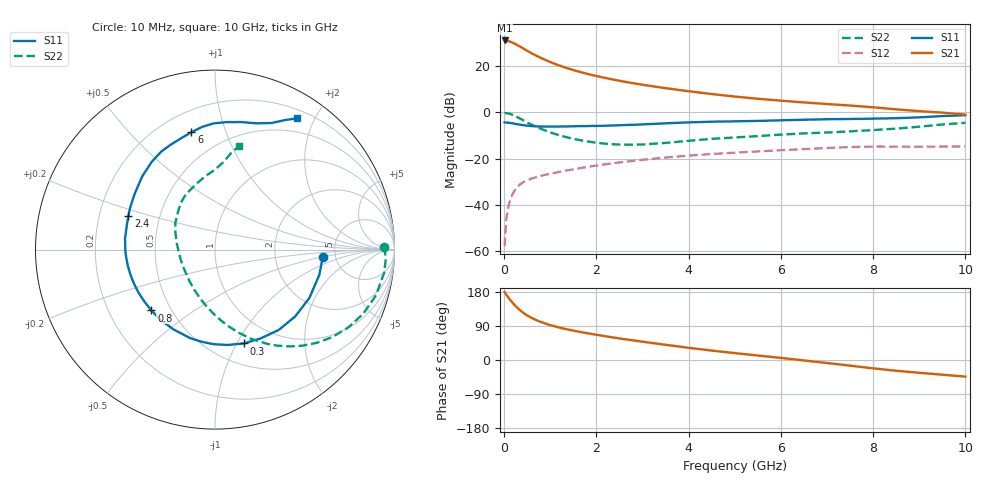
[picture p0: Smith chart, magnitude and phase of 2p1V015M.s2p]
! (c) 2009  Infineon Technologies AG, Munich
! Infineon Technologies  Discrete & RF Semiconductors
! BFP420
! VCE =  1.0 V,  IC =  15 mA
! Common Emitter S-Parameters:  Nov 2009
# GHz  S  MA  R  50
!  f  S11  S21  S12  S22
! GHz  MAG  ANG  MAG  ANG  MAG  ANG  MAG  ANG
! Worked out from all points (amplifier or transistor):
!   46 points, 10 MHz to 10 GHz, reference 50 ohm
!   highest |S21| = 30.9 dB at 10 MHz (marker M1)
!   |S21| within 3 dB of that: start of sweep to 375.5 MHz
!   unconditionally stable (mu >= 1): 1.942 GHz to end of sweep
!   at 300 MHz: K = 0.26, MSG = 30.3 dB, |S12| = -31.9 dB
!   at 1.7 GHz: K = 0.94, MSG = 20.5 dB, |S12| = -23.9 dB
!   at 10 GHz: K = 1.07, MAG = 5.3 dB, |S12| = -14.8 dB
!   lowest NFmin = 1.06 dB at 900 MHz
!   S11 on the Smith chart (normalised r, x): 10 MHz: 3.96, -0.50; 300 MHz: 0.71, -1.07; 800 MHz: 0.39, -0.35; 2.4 GHz: 0.33, +0.17; 6 GHz: 0.33, +0.77; 10 GHz: 0.31, +1.76
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0.01  0.6023 -3.8  34.99 179.3  0.0013 87.6  0.9416 0.9
0.02  0.5999 -5.6  34.37 176.9  0.0021 91.1  0.9531 -2.8
0.05  0.5981 -13.6  34.28 171.8  0.0053 83.9  0.9515 -7.7
0.1  0.5909 -27.1  33.7 163.6  0.01 78.8  0.9328 -15.7
0.15  0.5817 -39.8  32.42 155.8  0.0146 74.3  0.9006 -23.3
0.2  0.5714 -51.6  30.87 148.7  0.0186 69.3  0.8599 -30.3
0.25  0.5564 -62.9  29.06 142.0  0.0222 65.2  0.8155 -36.7
0.3  0.5467 -73.1  27.36 136.1  0.0253 61.9  0.7687 -42.5
0.4  0.5273 -90.7  23.98 125.9  0.0303 56.4  0.6798 -52.5
0.5  0.5125 -105.4  20.99 117.7  0.0342 52.7  0.6014 -60.9
0.6  0.5013 -117.6  18.49 110.8  0.0373 50.1  0.5357 -68.0
0.8  0.4905 -136.3  14.66 100.2  0.0425 47.3  0.4361 -79.7
1  0.4888 -150.3  12 92.1  0.0472 45.9  0.3668 -89.8
1.2  0.4905 -161.1  10.08 85.6  0.0518 45.2  0.3173 -99.0
1.7  0.5001 178.9  7.106 72.9  0.0635 43.7  0.2439 -120.3
2.4  0.5173 158.9  4.948 58.8  0.0802 40.2  0.2024 -149.6
3.5  0.575 134.9  3.283 40.1  0.1052 32.2  0.2177 169.3
5.5  0.648 107.1  1.944 11.8  0.1426 15.4  0.3051 131.0
6  0.6669 101.4  1.768 5.5  0.1512 11.3  0.3283 124.1
7  0.7031 90.7  1.497 -8.0  0.169 1.9  0.3649 110.6
8.5  0.7405 71.8  1.15 -28.4  0.181 -14.8  0.4416 90.7
10  0.8605 58.1  0.885 -43.8  0.1829 -25.4  0.59 77.1
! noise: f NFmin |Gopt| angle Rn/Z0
0.9  1.06  0.09  -152  0.13
1.8  1.36  0.18  -147  0.12
2.4  1.49  0.17  -148  0.14
3  1.53  0.25  -138  0.14
4  1.67  0.38  -119  0.2
5  2.14  0.44  -103  0.32
6  2.48  0.5  -88  0.47
